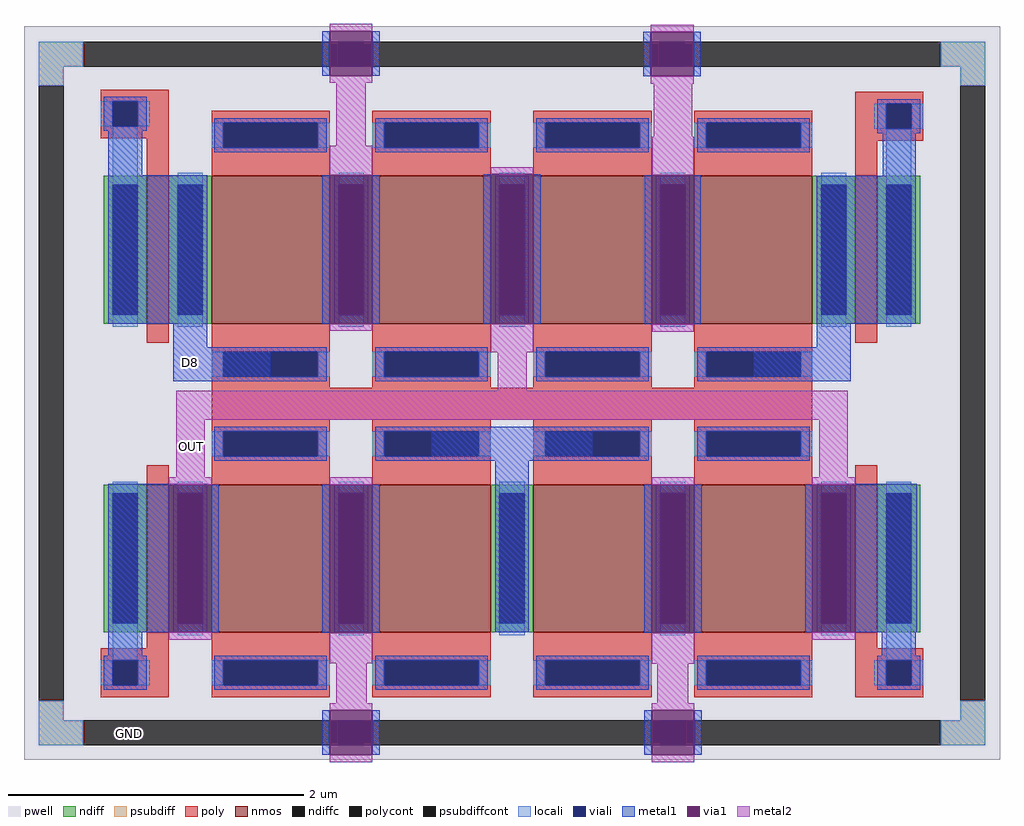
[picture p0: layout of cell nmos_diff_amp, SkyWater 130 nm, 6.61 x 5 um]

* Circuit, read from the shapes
.subckt nmos_diff_amp D8 GND OUT
XM1 OUT OUT OUT GND sky130_fd_pr__nfet_01v8 w=1 l=0.15 m=2
XM2 D8 D8 D8 GND sky130_fd_pr__nfet_01v8 w=1 l=0.15 m=2
XM3 GND D8 OUT GND sky130_fd_pr__nfet_01v8 w=1 l=0.8 m=4
XM4 GND D8 D8 GND sky130_fd_pr__nfet_01v8 w=1 l=0.8 m=4
.ends

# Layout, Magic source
magic
tech sky130A
magscale 1 2
<< pwell >>
rect -196 -503 1126 491
<< psubdiff >>
rect -176 436 -116 470
rect 1046 436 1106 470
rect -176 410 -142 436
rect 1072 410 1106 436
rect -176 -449 -142 -423
rect 1072 -449 1106 -423
rect -176 -483 -116 -449
rect 1046 -483 1106 -449
<< psubdiffcont >>
rect -116 436 1046 470
rect -176 -423 -142 410
rect 1072 -423 1106 410
rect -116 -483 1046 -449
<< poly >>
rect -92 389 0 405
rect -92 355 -76 389
rect -42 355 0 389
rect -92 339 0 355
rect -30 296 0 339
rect 930 386 1022 402
rect 930 352 972 386
rect 1006 352 1022 386
rect 930 336 1022 352
rect 930 302 960 336
rect 58 -42 872 1
rect -30 -352 0 -345
rect -92 -368 0 -352
rect -92 -402 -76 -368
rect -42 -402 0 -368
rect -92 -418 0 -402
rect 930 -352 960 -332
rect 930 -368 1022 -352
rect 930 -402 972 -368
rect 1006 -402 1022 -368
rect 930 -418 1022 -402
<< polycont >>
rect -76 355 -42 389
rect 972 352 1006 386
rect -76 -402 -42 -368
rect 972 -402 1006 -368
<< locali >>
rect -176 436 -116 470
rect 1046 436 1106 470
rect -176 410 -142 436
rect 1072 410 1106 436
rect -92 355 -76 389
rect -42 355 -26 389
rect -76 276 -42 355
rect 956 352 972 386
rect 1006 352 1022 386
rect 972 276 1006 352
rect -76 -368 -42 -318
rect 972 -368 1006 -318
rect -92 -402 -76 -368
rect -42 -402 -26 -368
rect 956 -402 972 -368
rect 1006 -402 1022 -368
rect -176 -449 -142 -423
rect 1072 -449 1106 -423
rect -176 -483 -116 -449
rect 1046 -483 1106 -449
<< viali >>
rect 230 436 264 470
rect 665 436 699 470
rect -76 355 -42 389
rect 972 352 1006 386
rect -76 -402 -42 -368
rect 972 -402 1006 -368
rect 230 -483 264 -449
rect 666 -483 700 -449
<< metal1 >>
rect 208 424 218 484
rect 276 424 286 484
rect 643 423 653 483
rect 711 423 721 483
rect -88 389 -30 395
rect -88 355 -76 389
rect -42 355 -30 389
rect -88 349 -30 355
rect 960 386 1018 392
rect 960 352 972 386
rect 1006 352 1018 386
rect -82 289 -36 349
rect 960 346 1018 352
rect -82 88 52 289
rect 208 88 218 289
rect 276 88 286 289
rect 426 88 436 290
rect 494 88 504 290
rect 6 56 52 88
rect 645 87 655 289
rect 711 87 721 289
rect 967 288 1012 346
rect 878 88 1012 288
rect 878 56 924 88
rect 6 10 138 56
rect 792 10 924 56
rect 356 -98 574 -52
rect -82 -130 53 -129
rect -82 -330 0 -130
rect 58 -330 68 -130
rect -82 -362 -36 -330
rect 208 -331 218 -130
rect 276 -331 286 -130
rect 442 -330 488 -98
rect 878 -130 1013 -129
rect 644 -331 654 -130
rect 712 -331 722 -130
rect 862 -330 872 -130
rect 930 -330 1013 -130
rect 966 -362 1012 -330
rect -88 -368 -30 -362
rect -88 -402 -76 -368
rect -42 -402 -30 -368
rect -88 -408 -30 -402
rect 960 -368 1018 -362
rect 960 -402 972 -368
rect 1006 -402 1018 -368
rect 960 -408 1018 -402
rect 208 -496 218 -436
rect 276 -496 286 -436
rect 644 -496 654 -436
rect 712 -496 722 -436
<< via1 >>
rect 218 470 276 484
rect 218 436 230 470
rect 230 436 264 470
rect 264 436 276 470
rect 218 424 276 436
rect 653 470 711 483
rect 653 436 665 470
rect 665 436 699 470
rect 699 436 711 470
rect 653 423 711 436
rect 218 88 276 289
rect 436 88 494 290
rect 655 87 711 289
rect 0 -330 58 -130
rect 218 -331 276 -130
rect 654 -331 712 -130
rect 872 -330 930 -130
rect 218 -449 276 -436
rect 218 -483 230 -449
rect 230 -483 264 -449
rect 264 -483 276 -449
rect 218 -496 276 -483
rect 654 -449 712 -436
rect 654 -483 666 -449
rect 666 -483 700 -449
rect 700 -483 712 -449
rect 654 -496 712 -483
<< metal2 >>
rect 218 484 276 494
rect 218 414 276 424
rect 653 483 711 493
rect 227 329 267 414
rect 653 413 711 423
rect 657 341 709 413
rect 218 289 276 329
rect 218 78 276 88
rect 436 290 494 300
rect 436 49 494 88
rect 655 289 711 341
rect 655 77 711 87
rect 446 -3 485 49
rect 10 -42 920 -3
rect 10 -120 49 -42
rect 881 -120 920 -42
rect 0 -130 58 -120
rect 0 -340 58 -330
rect 218 -130 276 -120
rect 218 -372 276 -331
rect 654 -130 712 -120
rect 227 -426 268 -372
rect 654 -373 712 -331
rect 872 -130 930 -120
rect 872 -340 930 -330
rect 662 -426 704 -373
rect 218 -436 276 -426
rect 218 -506 276 -496
rect 654 -436 712 -426
rect 654 -506 712 -496
use sky130_fd_pr__nfet_01v8_6H9P4D  sky130_fd_pr__nfet_01v8_6H9P4D_1
transform 1 0 -15 0 1 -230
box -73 -126 73 126
use sky130_fd_pr__nfet_01v8_6H9P4D  sky130_fd_pr__nfet_01v8_6H9P4D_2
transform 1 0 -15 0 1 188
box -73 -126 73 126
use sky130_fd_pr__nfet_01v8_6H9P4D  sky130_fd_pr__nfet_01v8_6H9P4D_3
transform 1 0 945 0 1 188
box -73 -126 73 126
use sky130_fd_pr__nfet_01v8_6H9P4D  sky130_fd_pr__nfet_01v8_6H9P4D_4
transform 1 0 945 0 1 -230
box -73 -126 73 126
use sky130_fd_pr__nfet_01v8_HRGC9X  sky130_fd_pr__nfet_01v8_HRGC9X_0
transform 1 0 465 0 1 -230
box -465 -188 465 188
use sky130_fd_pr__nfet_01v8_HRGC9X  sky130_fd_pr__nfet_01v8_HRGC9X_1
transform 1 0 465 0 1 188
box -465 -188 465 188
<< labels >>
flabel metal1 29 35 29 35 0 FreeSans 160 0 0 0 D8
port 0 nsew
flabel psubdiffcont -53 -467 -53 -467 0 FreeSans 160 0 0 0 GND
port 1 nsew
flabel metal2 31 -78 31 -78 0 FreeSans 160 0 0 0 OUT
port 2 nsew
<< end >>

# cell sky130_fd_pr__nfet_01v8_6H9P4D: kit device sky130_fd_pr__nfet_01v8, w 1 l 0.150 m 1 nf 1 diffcov 100 polycov 100 guard 0 glc 1 grc 1 gtc 1 gbc 1 tbcov 100 rlcov 100 topc 0 botc 0 poverlap 0 doverlap 1 lmin 0.15 wmin 0.42 compatible {sky130_fd_pr__nfet_01v8 sky130_fd_pr__nfet_01v8_lvt sky130_fd_bs_flash__special_sonosfet_star sky130_fd_pr__nfet_g5v0d10v5 sky130_fd_pr__nfet_05v0_nvt sky130_fd_pr__nfet_03v3_nvt} full_metal 1 viasrc 100 viadrn 100 viagate 100 viagb 0 viagr 0 viagl 0 viagt 0

# cell sky130_fd_pr__nfet_01v8_HRGC9X: kit device sky130_fd_pr__nfet_01v8, w 1 l 0.8 m 1 nf 4 diffcov 100 polycov 100 guard 0 glc 1 grc 1 gtc 1 gbc 1 tbcov 100 rlcov 100 topc 1 botc 1 poverlap 0 doverlap 1 lmin 0.15 wmin 0.42 compatible {sky130_fd_pr__nfet_01v8 sky130_fd_pr__nfet_01v8_lvt sky130_fd_bs_flash__special_sonosfet_star sky130_fd_pr__nfet_g5v0d10v5 sky130_fd_pr__nfet_05v0_nvt sky130_fd_pr__nfet_03v3_nvt} full_metal 1 viasrc 100 viadrn 100 viagate 100 viagb 0 viagr 0 viagl 0 viagt 0
